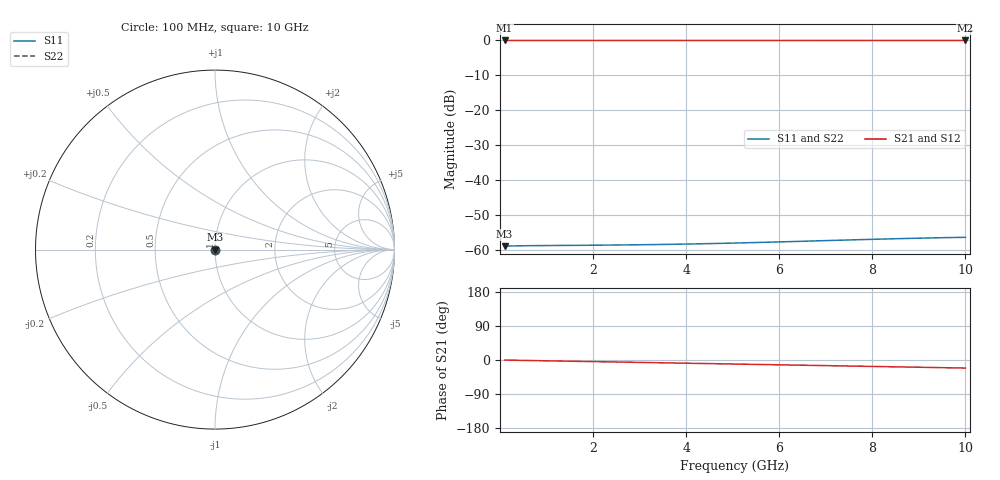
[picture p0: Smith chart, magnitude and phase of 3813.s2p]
# Hz S RI R 50.00
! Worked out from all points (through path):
!   100 points, 100 MHz to 10 GHz, reference 50 ohm
!   highest |S21| = -0.01 dB at 100 MHz (marker M1); lowest = 0.0 dB at 10 GHz (marker M2)
!   group delay of S21, straight-line fit = 5.9 ps
!   lowest |S11| = -58.9 dB at 100 MHz (marker M3), VSWR 1.00, Z = 50.1 - j0.00122 ohm
!   |S11| at or under -10 dB: start of sweep to end of sweep
!   |S22| runs from -58.9 to -56.3 dB; largest |S21 - S12| = 0
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1e8  0.00114 -1.21e-05  0.9989 -0.00368  0.9989 -0.00368  0.00114 -1.21e-05
2e8  0.00114 -2.43e-05  0.9988 -0.00736  0.9988 -0.00736  0.00114 -2.43e-05
3e8  0.00115 -3.66e-05  0.9988 -0.011  0.9988 -0.011  0.00115 -3.66e-05
6e8  0.00115 -7.39e-05  0.9986 -0.0221  0.9986 -0.0221  0.00115 -7.39e-05
1e9  0.00115 -0.000125  0.9981 -0.0368  0.9981 -0.0368  0.00115 -0.000125
1.8e9  0.00115 -0.000232  0.9966 -0.0662  0.9966 -0.0662  0.00115 -0.000232
2.6e9  0.00113 -0.000346  0.9942 -0.0956  0.9942 -0.0956  0.00113 -0.000346
3e9  0.00112 -0.000405  0.9926 -0.1102  0.9926 -0.1102  0.00112 -0.000405
3.4e9  0.00111 -0.000466  0.9909 -0.1249  0.9909 -0.1249  0.00111 -0.000466
3.8e9  0.00109 -0.000528  0.9889 -0.1395  0.9889 -0.1395  0.00109 -0.000528
4.2e9  0.00108 -0.00059  0.9867 -0.1542  0.9867 -0.1542  0.00108 -0.00059
4.6e9  0.00106 -0.000654  0.9843 -0.1688  0.9843 -0.1688  0.00106 -0.000654
5.1e9  0.00103 -0.000733  0.981 -0.187  0.981 -0.187  0.00103 -0.000733
5.8e9  0.000988 -0.000843  0.9758 -0.2124  0.9758 -0.2124  0.000988 -0.000843
6.7e9  0.000926 -0.000981  0.9681 -0.2449  0.9681 -0.2449  0.000926 -0.000981
7.5e9  0.000865 -0.0011  0.9604 -0.2736  0.9604 -0.2736  0.000865 -0.0011
8e9  0.000825 -0.00116  0.9551 -0.2915  0.9551 -0.2915  0.000825 -0.00116
8.4e9  0.000793 -0.00121  0.9506 -0.3057  0.9506 -0.3057  0.000793 -0.00121
8.8e9  0.000759 -0.00126  0.9459 -0.3199  0.9459 -0.3199  0.000759 -0.00126
9.2e9  0.000726 -0.0013  0.941 -0.334  0.941 -0.334  0.000726 -0.0013
9.6e9  0.000693 -0.00134  0.9359 -0.3481  0.9359 -0.3481  0.000693 -0.00134
1e10  0.00066 -0.00137  0.9306 -0.362  0.9306 -0.362  0.00066 -0.00137
